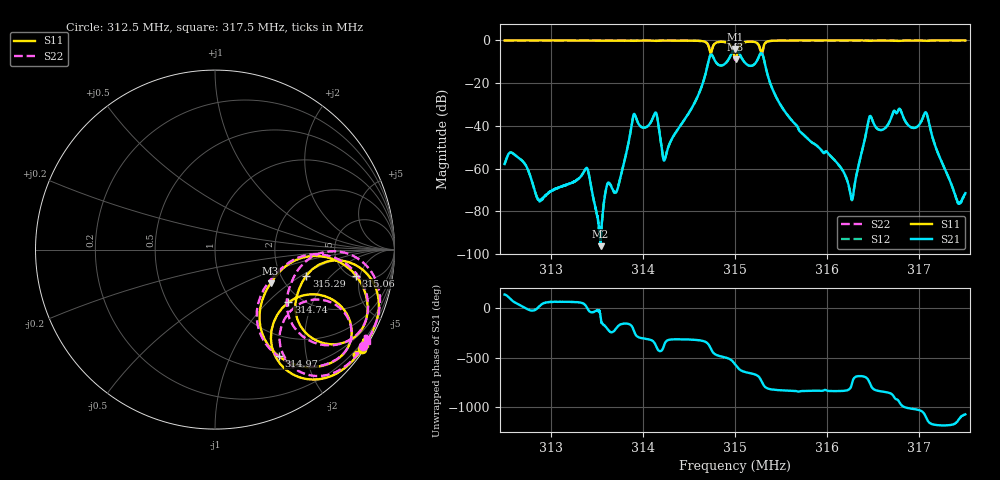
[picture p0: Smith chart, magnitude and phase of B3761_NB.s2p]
! S-Parameter for B3761 in Touchstone format with Magnitude (lin) and Phase
! Normalised impedance: 50 Ohm. Measurement system: 50 Ohm. Ta=20°C
! B3761_5.S2P not matched. Measurement full 2-port calibrated incl. Port.Ext.
! Start: 312.50MHz, Stop: 317.50MHz, Span 5MHz, 1601Pts., Step 3.125kHz.
! Date: 14/12/04 - EPCOS SAW CE AE PD; AB
! Pinning according data sheet recommendation: IN P2, OUT P5, other GND
# MHz  S  MA  R  50
! Freq  S11  S21  S12  S22
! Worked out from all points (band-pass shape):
!   1601 points, 312.5 MHz to 317.5 MHz, reference 50 ohm
!   highest |S21| = -4.08 dB at 315 MHz (marker M1); lowest = -96.3 dB at 313.54 MHz (marker M2)
!   |S21| within 3 dB of the highest: 314.9536 MHz to 315.0577 MHz (104.1 kHz wide, 0.0331 % of centre); 315.2645 MHz to 315.3032 MHz (38.71 kHz wide, 0.0123 % of centre) (the widest 2 of 3)
!   lowest |S11| = -8.8 dB at 315.01 MHz (marker M3), VSWR 2.13, Z = 85 - j36.5 ohm
!   |S11| at or under -10 dB: nowhere
!   |S22| runs from -9.1 to -0.1 dB; largest |S21 - S12| = 0.0024
!   S11 on the Smith chart (normalised r, x): 312.5 MHz: 0.07, -3.25; 314.74 MHz: 1.71, -1.35; 314.97 MHz: 0.68, -1.55; 315.06 MHz: 5.40, -4.32; 315.29 MHz: 2.74, -1.11; 317.5 MHz: 0.07, -3.48
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312.5  0.9881 -34.2  0.001275 133.6  0.001275 133.9  0.986 -33.1
312.6969  0.989 -34.3  0.001475 12.9  0.001479 12.8  0.9869 -33.1
312.8781  0.9899 -34.4  0.0001701 14.3  0.0001739 17.5  0.9878 -33.3
313.3344  0.9896 -35.0  0.0006875 50.0  0.0006891 50.1  0.9877 -33.9
313.5406  0.9894 -35.4  1.532e-05 -95.3  1.981e-05 -112.6  0.987 -34.3
313.725  0.9888 -35.8  0.0003347 171.1  0.0003328 170.4  0.9866 -34.7
313.9031  0.9696 -36.1  0.01885 128.3  0.01882 128.6  0.9694 -35.0
314.1687  0.9788 -36.5  0.01063 -67.3  0.01062 -67.2  0.978 -35.4
314.2406  0.9869 -37.4  0.001696 7.1  0.00169 6.8  0.9847 -36.2
314.7406  0.5036 -35.7  0.4672 -55.2  0.4663 -55.1  0.5473 -35.8
314.9656  0.6921 -59.1  0.5018 -169.6  0.5004 -169.5  0.6842 -59.6
315  0.3719 -42.3  0.6255 152.7  0.6247 152.8  0.3507 -39.1
315.0063  0.3617 -31.1  0.6234 145.6  0.6228 145.8  0.3544 -26.9
315.0625  0.7984 -10.5  0.4225 92.3  0.4218 92.4  0.8005 -9.8
315.2937  0.5289 -15.9  0.4888 -27.5  0.4881 -27.2  0.4772 -13.3
315.8344  0.99 -29.1  0.004072 -113.0  0.004073 -112.9  0.9878 -27.9
316.2688  0.9904 -30.9  0.00019 -42.2  0.0001808 -42.1  0.9885 -29.7
316.4594  0.9734 -31.4  0.01628 -30.3  0.01624 -30.1  0.9732 -30.3
316.6687  0.9875 -31.9  0.01153 -133.5  0.01149 -133.4  0.9857 -30.8
317.0719  0.9704 -31.7  0.02053 -18.7  0.0205 -18.4  0.9667 -30.6
317.4094  0.9894 -32.0  0.0001825 -66.2  0.0001805 -64.7  0.9874 -30.8
317.5  0.9892 -32.1  0.0002665 8.8  0.0002643 7.7  0.9874 -30.9
